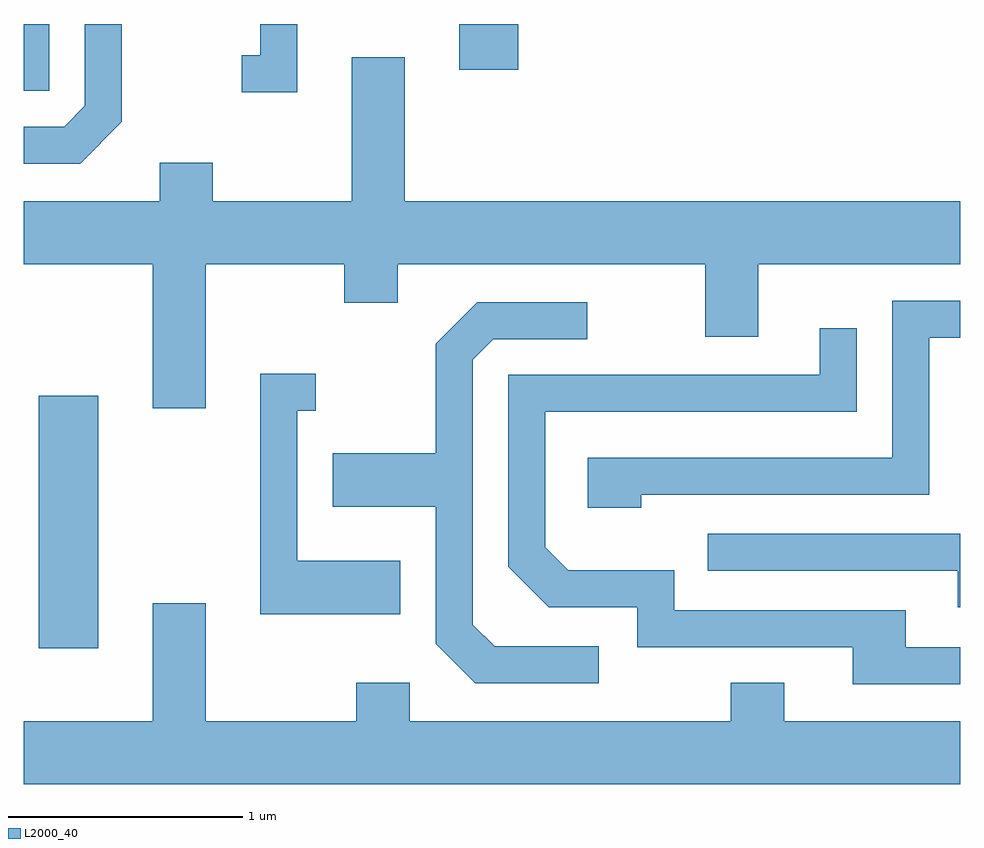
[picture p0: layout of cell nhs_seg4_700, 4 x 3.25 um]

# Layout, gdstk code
import gdstk
lib = gdstk.Library(unit=1e-6, precision=1e-09)
def R(c, l, rs):  # rectangles x0, y0, x1, y1
    for r in rs: c.add(gdstk.rectangle(r[:2], r[2:], *l))
def P(c, l, *ps):  # polygons
    for p in ps: c.add(gdstk.Polygon(p, *l))
L2000_40 = (2000, 40)

nhs_seg4_700 = lib.new_cell('nhs_seg4_700')
R(nhs_seg4_700, L2000_40, [(205.676,1295.316,205.929,1296.394), (205.611,1297.696,205.719,1297.982), (207.471,1297.786,207.724,1297.982)])
P(nhs_seg4_700, L2000_40, [(206.029,1297.564),(206.029,1297.982),(205.871,1297.982),(205.871,1297.632),(205.784,1297.544),(205.611,1297.544),(205.611,1297.386),(205.852,1297.386)],
  [(206.779,1297.982),(206.621,1297.982),(206.621,1297.849),(206.543,1297.849),(206.543,1297.691),(206.779,1297.691)],
  [(206.389,1296.956),(206.981,1296.956),(206.981,1296.791),(207.209,1296.791),(207.209,1296.956),(208.521,1296.956),(208.521,1296.646),(208.749,1296.646),(208.749,1296.956),(209.611,1296.956),(209.611,1297.224),(207.239,1297.224),(207.239,1297.839),(207.011,1297.839),(207.011,1297.224),(206.419,1297.224),(206.419,1297.389),(206.191,1297.389),(206.191,1297.224),(205.611,1297.224),(205.611,1296.956),(206.161,1296.956),(206.161,1296.341),(206.389,1296.341)],
  [(208.249,1295.971),(209.479,1295.971),(209.479,1296.641),(209.611,1296.641),(209.611,1296.799),(209.321,1296.799),(209.321,1296.129),(208.021,1296.129),(208.021,1295.916),(208.249,1295.916)],
  [(208.068,1295.324),(207.622,1295.324),(207.529,1295.417),(207.529,1296.549),(207.617,1296.636),(208.018,1296.636),(208.018,1296.794),(207.549,1296.794),(207.371,1296.617),(207.371,1296.149),(206.931,1296.149),(206.931,1295.921),(207.371,1295.921),(207.371,1295.334),(207.539,1295.166),(208.068,1295.166)],
  [(209.611,1295.319),(209.379,1295.319),(209.379,1295.479),(208.389,1295.479),(208.389,1295.649),(207.937,1295.649),(207.839,1295.747),(207.839,1296.326),(209.169,1296.326),(209.169,1296.683),(209.011,1296.683),(209.011,1296.484),(207.681,1296.484),(207.681,1295.664),(207.854,1295.491),(208.231,1295.491),(208.231,1295.321),(209.151,1295.321),(209.151,1295.161),(209.611,1295.161)],
  [(207.219,1295.689),(206.779,1295.689),(206.779,1296.331),(206.858,1296.331),(206.858,1296.489),(206.621,1296.489),(206.621,1295.461),(207.219,1295.461)],
  [(209.611,1295.804),(208.533,1295.804),(208.533,1295.646),(209.601,1295.646),(209.601,1295.491),(209.611,1295.491)],
  [(209.611,1295.004),(208.859,1295.004),(208.859,1295.169),(208.631,1295.169),(208.631,1295.004),(207.259,1295.004),(207.259,1295.169),(207.031,1295.169),(207.031,1295.004),(206.389,1295.004),(206.389,1295.509),(206.161,1295.509),(206.161,1295.004),(205.611,1295.004),(205.611,1294.736),(209.611,1294.736)])

lib.write_gds('nhs_seg4_700.gds')
